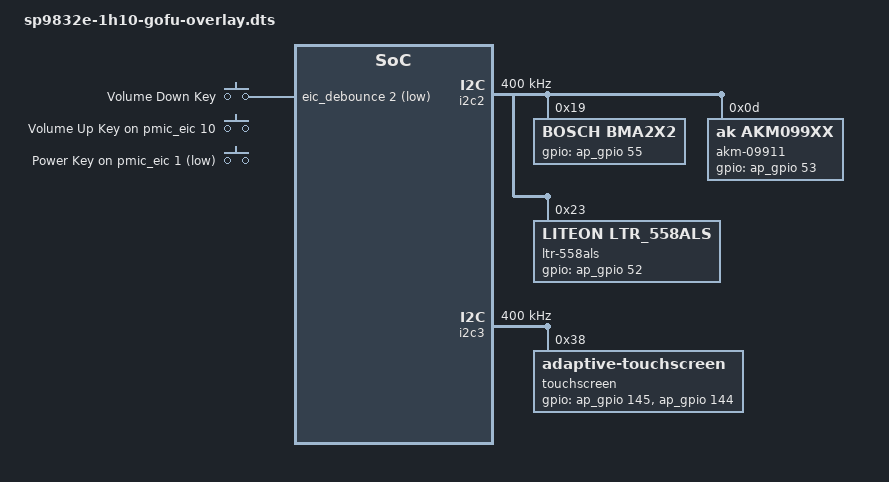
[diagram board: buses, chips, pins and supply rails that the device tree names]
/*
 * Spreadtrum sharkle sp9832e board DTS file
 *
 * Copyright (C) 2019, Spreadtrum Communications Inc.
 *
 * This file is licensed under a dual GPLv2 or X11 license.
 */
/dts-v1/;
/plugin/;
#include <dt-bindings/input/input.h>
#include <dt-bindings/gpio/gpio.h>

#include <dt-bindings/input/input.h>
#include <dt-bindings/gpio/gpio.h>

/ {
	/*
	* When create a new node, we should use the key word __overlay__,
	* otherwise u-boot can not analyze it.
	*/
	fragment {
		target-path = "/";
		__overlay__ {
			gpio-keys {
				compatible = "gpio-keys";

				key-volumedown {
					label = "Volume Down Key";
					linux,code = <KEY_VOLUMEDOWN>;
					gpios = <&eic_debounce 2 GPIO_ACTIVE_LOW>;
					debounce-interval = <2>;
					wakeup-source;
				};

				key-volumeup {
					label = "Volume Up Key";
					linux,code = <KEY_VOLUMEUP>;
					gpios = <&pmic_eic 10 GPIO_ACTIVE_HIGH>;
					debounce-interval = <2>;
					wakeup-source;
				};

				key-power {
					label = "Power Key";
					linux,code = <KEY_POWER>;
					gpios = <&pmic_eic 1 GPIO_ACTIVE_LOW>;
					debounce-interval = <2>;
					wakeup-source;
				};
			};
		};
	};
};

&i2c2 {
	status = "okay";
	clock-frequency = <400000>;
	bma2x2@19{
		compatible = "BOSCH,bma2x2";
		reg = <0x19>;
		gpios = <&ap_gpio 55 GPIO_ACTIVE_HIGH>;
	};

	akm-09911@0d{
		compatible = "ak,akm099xx";
		reg = <0x0d>;
		gpios = <&ap_gpio 53 GPIO_ACTIVE_HIGH>;
	};

	ltr-558als@23{
		compatible = "LITEON,ltr_558als";
		reg = <0x23>;
		gpios = <&ap_gpio 52 GPIO_ACTIVE_HIGH>;
		sensitive = <1000 40 35 1200 1000 48>;
		luxcorrection = <3500>;
	};
};

&i2c3 {
	status = "okay";
	clock-frequency = <400000>;

	touchscreen@38 {
		compatible = "adaptive-touchscreen";
		reg = <0x38>;
		gpios = <&ap_gpio 145 GPIO_ACTIVE_HIGH
			&ap_gpio 144 GPIO_ACTIVE_HIGH>;
		controller = "focaltech,ft5436";
		virtualkeys = <580 60 1320 60 45
				172 360 1320 60 45
				158 600 1320 60 45>;
		surface-width = <720>;
		surface-height = <1280>;
		private-data {
			a8 = /bits/ 8 <0x5A>;
		};
	};
};
